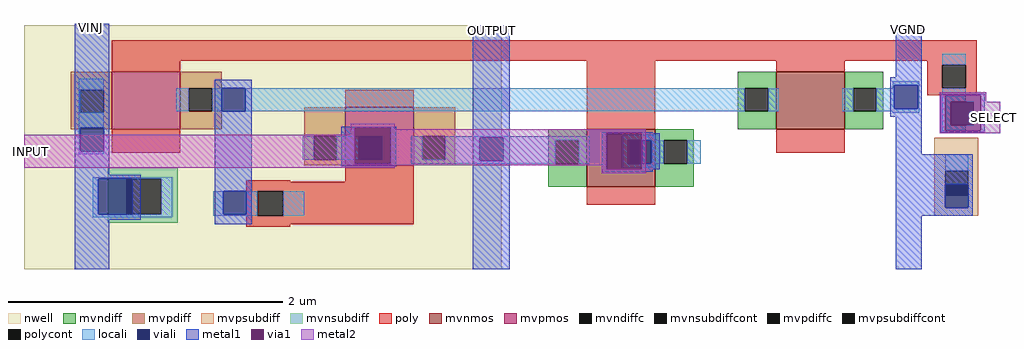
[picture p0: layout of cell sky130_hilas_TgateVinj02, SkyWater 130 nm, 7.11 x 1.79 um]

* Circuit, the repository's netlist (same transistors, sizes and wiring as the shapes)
* NGSPICE file created from sky130_hilas_TgateVinj02.ext - technology: sky130A

.subckt sky130_hilas_TgateVinj02
X0 a_n194_98# SELECT VINJ VINJ sky130_fd_pr__pfet_g5v0d10v5 ad=0.126 pd=1.44 as=0.126 ps=1.44 w=0.42 l=0.5
X1 VGND SELECT a_n194_98# VGND sky130_fd_pr__nfet_g5v0d10v5 ad=0.1176 pd=1.4 as=0.1176 ps=1.4 w=0.42 l=0.5
X2 OUTPUT a_n194_98# INPUT VINJ sky130_fd_pr__pfet_g5v0d10v5 ad=0.126 pd=1.44 as=0.126 ps=1.44 w=0.42 l=0.5
X3 INPUT SELECT OUTPUT VGND sky130_fd_pr__nfet_g5v0d10v5 ad=0.1176 pd=1.4 as=0.1176 ps=1.4 w=0.42 l=0.5
.ends

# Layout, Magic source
magic
tech sky130A
<< nwell >>
rect -211 -53 137 125
<< mvnmos >>
rect 337 49 387 91
rect 199 7 249 49
<< mvpmos >>
rect -147 49 -97 91
rect 23 23 73 65
<< mvndiff >>
rect 309 79 337 91
rect 309 62 314 79
rect 331 62 337 79
rect 309 49 337 62
rect 387 79 415 91
rect 387 62 393 79
rect 410 62 415 79
rect 387 49 415 62
rect 171 41 199 49
rect 171 24 176 41
rect 193 24 199 41
rect 171 7 199 24
rect 249 41 277 49
rect 249 24 255 41
rect 272 24 277 41
rect 249 7 277 24
<< mvpdiff >>
rect -177 78 -147 91
rect -177 61 -170 78
rect -153 61 -147 78
rect -177 49 -147 61
rect -97 79 -67 91
rect -97 62 -91 79
rect -74 62 -67 79
rect -97 49 -67 62
rect -7 44 23 65
rect -7 27 0 44
rect 17 27 23 44
rect -7 23 23 27
rect 73 44 103 65
rect 73 27 79 44
rect 96 27 103 44
rect 73 23 103 27
<< mvndiffc >>
rect 314 62 331 79
rect 393 62 410 79
rect 176 24 193 41
rect 255 24 272 41
<< mvpdiffc >>
rect -170 61 -153 78
rect -91 62 -74 79
rect 0 27 17 44
rect 79 27 96 44
<< mvpsubdiff >>
rect 452 19 484 43
rect 452 1 460 19
rect 477 1 484 19
rect 452 -14 484 1
<< mvnsubdiff >>
rect -150 13 -99 21
rect -150 -13 -136 13
rect -111 -13 -99 13
rect -150 -19 -99 -13
<< mvpsubdiffcont >>
rect 460 1 477 19
<< mvnsubdiffcont >>
rect -136 -13 -111 13
<< poly >>
rect -147 99 483 114
rect -147 91 -97 99
rect 23 65 73 78
rect -147 32 -97 49
rect 199 49 249 99
rect 337 91 387 99
rect 447 96 483 99
rect 447 79 458 96
rect 475 79 483 96
rect 447 74 483 79
rect -49 11 -17 12
rect 23 11 73 23
rect -49 4 73 11
rect 337 32 387 49
rect -49 -14 -41 4
rect -22 -14 73 4
rect 199 -6 249 7
rect -49 -20 73 -14
rect -49 -22 -17 -20
<< polycont >>
rect 458 79 475 96
rect -41 -14 -22 4
<< locali >>
rect 458 96 475 104
rect -171 78 -153 86
rect 422 81 441 84
rect 422 79 423 81
rect -171 61 -170 78
rect -100 62 -91 79
rect -74 62 -67 79
rect -50 62 314 79
rect 331 62 339 79
rect 385 62 393 79
rect 410 64 423 79
rect 440 64 441 81
rect 410 62 441 64
rect 422 61 441 62
rect 458 69 475 79
rect -171 50 -153 61
rect -171 33 -170 50
rect 458 52 464 69
rect 458 48 475 52
rect -171 31 -153 33
rect -8 27 0 44
rect 17 27 33 44
rect 71 27 79 44
rect 96 43 201 44
rect 96 27 121 43
rect 71 26 121 27
rect 138 41 201 43
rect 138 26 176 41
rect 71 24 176 26
rect 193 24 201 41
rect 225 41 249 45
rect 225 24 229 41
rect 246 24 255 41
rect 272 24 282 41
rect 225 21 249 24
rect 460 19 477 31
rect -161 13 -103 14
rect -161 -13 -157 13
rect -111 -13 -103 13
rect -161 -15 -103 -13
rect -73 -13 -66 4
rect -49 -13 -41 4
rect -73 -14 -41 -13
rect -22 -14 -7 4
<< viali >>
rect -67 62 -50 79
rect 423 64 440 81
rect -170 33 -153 50
rect 464 52 481 69
rect 33 27 50 44
rect 121 26 138 43
rect 229 24 246 41
rect -157 -13 -136 13
rect -136 -13 -132 13
rect -66 -13 -49 4
rect 460 1 477 9
rect 460 -8 477 1
<< metal1 >>
rect -174 50 -149 126
rect -174 33 -170 50
rect -153 33 -149 50
rect -174 16 -149 33
rect -72 79 -45 85
rect -72 62 -67 79
rect -50 62 -45 79
rect -174 13 -126 16
rect -174 -13 -157 13
rect -132 -13 -126 13
rect -174 -17 -126 -13
rect -72 4 -45 62
rect 20 50 60 51
rect 20 24 30 50
rect 56 24 60 50
rect 20 22 60 24
rect 116 43 143 125
rect 424 87 443 125
rect 420 81 443 87
rect 420 64 423 81
rect 440 64 443 81
rect 420 58 443 64
rect 116 26 121 43
rect 138 26 143 43
rect -72 -13 -66 4
rect -49 -13 -45 4
rect -174 -53 -149 -17
rect -72 -20 -45 -13
rect 116 -53 143 26
rect 210 46 247 47
rect 210 20 213 46
rect 239 41 252 46
rect 246 24 252 41
rect 239 20 252 24
rect 424 31 443 58
rect 457 74 489 75
rect 457 48 460 74
rect 486 48 489 74
rect 457 47 489 48
rect 210 18 247 20
rect 424 9 480 31
rect 424 -8 460 9
rect 477 -8 480 9
rect 424 -14 480 -8
rect 424 -53 443 -14
<< via1 >>
rect 30 44 56 50
rect 30 27 33 44
rect 33 27 50 44
rect 50 27 56 44
rect 30 24 56 27
rect 213 41 239 46
rect 213 24 229 41
rect 229 24 239 41
rect 213 20 239 24
rect 460 69 486 74
rect 460 52 464 69
rect 464 52 481 69
rect 481 52 486 69
rect 460 48 486 52
<< metal2 >>
rect 456 74 490 76
rect 27 50 59 53
rect 27 45 30 50
rect -211 24 30 45
rect 56 49 59 50
rect 56 46 242 49
rect 456 48 460 74
rect 486 69 490 74
rect 486 48 500 69
rect 456 46 500 48
rect 56 24 213 46
rect -211 23 213 24
rect -211 21 59 23
rect 210 20 213 23
rect 239 20 242 46
rect 210 17 242 20
<< labels >>
flabel metal1 -174 120 -149 126 0 FreeSans 40 0 0 0 VINJ
flabel metal2 491 46 500 69 0 FreeSans 40 0 0 0 SELECT
flabel metal1 116 117 143 125 0 FreeSans 40 0 0 0 OUTPUT
flabel metal2 -211 21 -202 45 0 FreeSans 40 0 0 0 INPUT
flabel metal1 424 119 443 125 0 FreeSans 40 0 0 0 VGND
<< end >>
